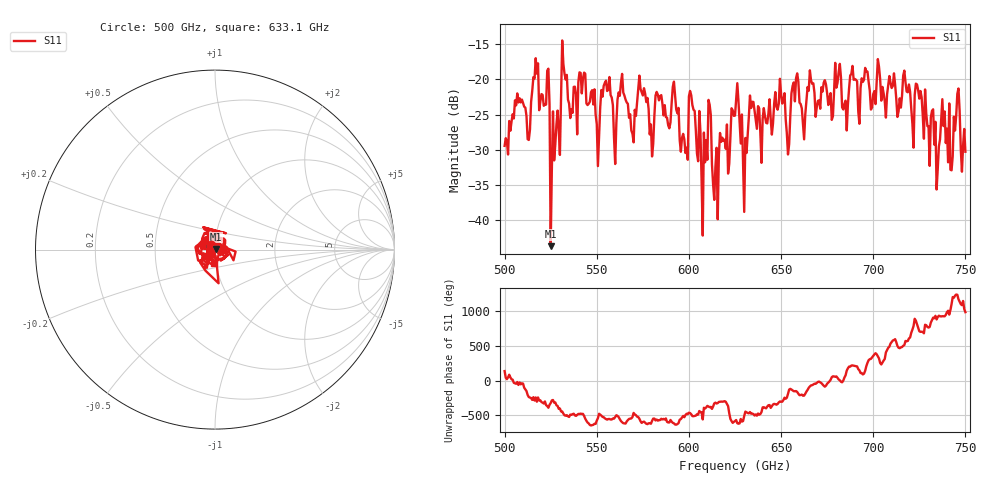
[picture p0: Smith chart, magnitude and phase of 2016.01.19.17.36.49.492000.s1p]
!Created with skrf (http://scikit-rf.org).
# GHz S RI R 50.0
!freq ReS11 ImS11
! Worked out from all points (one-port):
!   401 points, 500 GHz to 750 GHz, reference 50 ohm
!   lowest |S11| = -43.7 dB at 525 GHz (marker M1), VSWR 1.01, Z = 50.5 + j0.398 ohm
!   |S11| at or under -10 dB: start of sweep to end of sweep
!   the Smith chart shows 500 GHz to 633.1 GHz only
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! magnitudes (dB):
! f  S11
! 500 GHz  -29.4
! 506.9 GHz  -22.0
! 513.1 GHz  -28.6
! 516.9 GHz  -17.0
! 525 GHz  -43.7
! 526.2 GHz  -24.5
! 531.2 GHz  -14.5
! 550.6 GHz  -32.3
! 562.5 GHz  -22.3
! 568.8 GHz  -27.3
! 574.4 GHz  -21.9
! 593.8 GHz  -24.8
! 598.1 GHz  -30.5
! 601.2 GHz  -22.2
! 608.1 GHz  -27.6
! 610.6 GHz  -22.9
! 614.4 GHz  -32.4
! 625 GHz  -25.1
! 630.6 GHz  -28.3
! 633.8 GHz  -24.1
! 650.6 GHz  -23.4
! 653.8 GHz  -30.7
! 656.2 GHz  -20.9
! 687.5 GHz  -19.4
! 718.8 GHz  -21.8
! 734.4 GHz  -35.6
! 745.6 GHz  -22.0
! 750 GHz  -30.3
